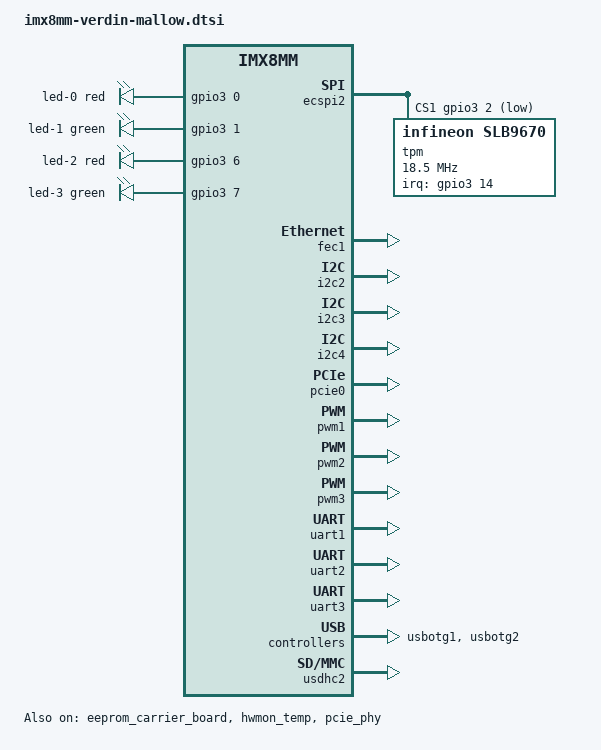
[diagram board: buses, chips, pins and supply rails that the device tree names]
// SPDX-License-Identifier: GPL-2.0-or-later OR MIT
/*
 * Copyright 2023 Toradex
 *
 * Common dtsi for Verdin IMX8MM SoM on Mallow carrier board
 *
 * https://www.toradex.com/computer-on-modules/verdin-arm-family/nxp-imx-8m-mini-nano
 * https://www.toradex.com/products/carrier-board/mallow-carrier-board
 */

#include <dt-bindings/leds/common.h>

/ {
	leds {
		compatible = "gpio-leds";
		pinctrl-names = "default";
		pinctrl-0 = <&pinctrl_leds>;

		/* SODIMM 52 - USER_LED_1_RED */
		led-0 {
			color = <LED_COLOR_ID_RED>;
			function = LED_FUNCTION_DEBUG;
			function-enumerator = <1>;
			gpios = <&gpio3 0 GPIO_ACTIVE_HIGH>;
		};

		/* SODIMM 54 - USER_LED_1_GREEN */
		led-1 {
			color = <LED_COLOR_ID_GREEN>;
			function = LED_FUNCTION_DEBUG;
			function-enumerator = <1>;
			gpios = <&gpio3 1 GPIO_ACTIVE_HIGH>;
		};

		/* SODIMM 56 - USER_LED_2_RED */
		led-2 {
			color = <LED_COLOR_ID_RED>;
			function = LED_FUNCTION_DEBUG;
			function-enumerator = <2>;
			gpios = <&gpio3 6 GPIO_ACTIVE_HIGH>;
		};

		/* SODIMM 58 - USER_LED_2_GREEN */
		led-3 {
			color = <LED_COLOR_ID_GREEN>;
			function = LED_FUNCTION_DEBUG;
			function-enumerator = <2>;
			gpios = <&gpio3 7 GPIO_ACTIVE_HIGH>;
		};
	};
};

/* Verdin SPI_1 */
&ecspi2 {
	pinctrl-0 = <&pinctrl_ecspi2>, <&pinctrl_tpm_cs>;
	cs-gpios = <&gpio5 13 GPIO_ACTIVE_LOW>, <&gpio3 2 GPIO_ACTIVE_LOW>;
	status = "okay";

	tpm@1 {
		compatible = "infineon,slb9670", "tcg,tpm_tis-spi";
		reg = <1>;
		pinctrl-names = "default";
		pinctrl-0 = <&pinctrl_tpm_irq>;
		interrupt-parent = <&gpio3>;
		interrupts = <14 IRQ_TYPE_LEVEL_LOW>;
		spi-max-frequency = <18500000>;
	};
};

/* EEPROM on Mallow */
&eeprom_carrier_board {
	status = "okay";
};

/* Verdin ETH_1 */
&fec1 {
	status = "okay";
};

/* Temperature sensor on Mallow */
&hwmon_temp {
	compatible = "ti,tmp1075";
	status = "okay";
};

/* Verdin I2C_2_DSI */
&i2c2 {
	status = "okay";
};

/* Verdin I2C_4_CSI */
&i2c3 {
	status = "okay";
};

/* Verdin I2C_1 */
&i2c4 {
	status = "okay";
};

/* Verdin PCIE_1 */
&pcie0 {
	status = "okay";
};

&pcie_phy {
	status = "okay";
};

/* Verdin PWM_3_DSI */
&pwm1 {
	status = "okay";
};

/* Verdin PWM_1 */
&pwm2 {
	status = "okay";
};

/* Verdin PWM_2 */
&pwm3 {
	status = "okay";
};

/* Verdin UART_3 */
&uart1 {
	status = "okay";
};

/* Verdin UART_1 */
&uart2 {
	status = "okay";
};

/* Verdin UART_2 */
&uart3 {
	status = "okay";
};

/* Verdin USB_1 */
&usbotg1 {
	status = "okay";
};

/* Verdin USB_2 */
&usbotg2 {
	status = "okay";
};

/* Verdin SD_1 */
&usdhc2 {
	status = "okay";
};

&iomuxc {
	pinctrl_leds: ledsgrp {
		fsl,pins =
			<MX8MM_IOMUXC_NAND_ALE_GPIO3_IO0	0x106>, /* SODIMM 52 */
			<MX8MM_IOMUXC_NAND_CE0_B_GPIO3_IO1	0x106>, /* SODIMM 54 */
			<MX8MM_IOMUXC_NAND_DATA00_GPIO3_IO6	0x106>, /* SODIMM 56 */
			<MX8MM_IOMUXC_NAND_DATA01_GPIO3_IO7	0x106>; /* SODIMM 58 */
	};

	pinctrl_tpm_cs: tpmcsgrp {
		fsl,pins =
			<MX8MM_IOMUXC_NAND_CE1_B_GPIO3_IO2	0x146>; /* SODIMM 64 */
	};

	pinctrl_tpm_irq: tpmirqgrp {
		fsl,pins =
			<MX8MM_IOMUXC_NAND_DQS_GPIO3_IO14	0x141>; /* SODIMM 66 */
	};
};
